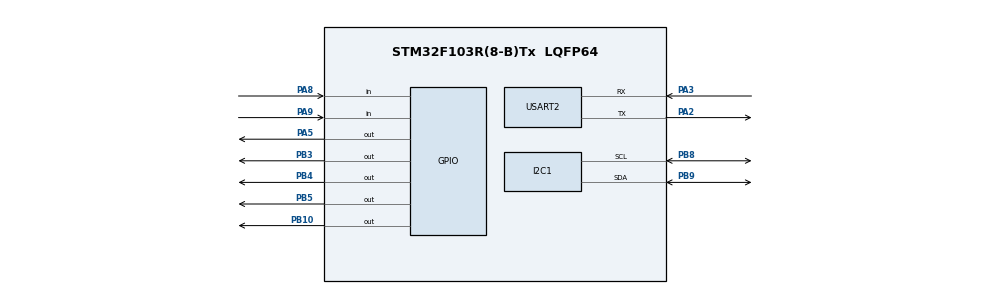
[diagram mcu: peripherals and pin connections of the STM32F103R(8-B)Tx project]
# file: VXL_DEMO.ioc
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Mcu.Family=STM32F1
Mcu.Name=STM32F103R(8-B)Tx
Mcu.Package=LQFP64
NVIC.PriorityGroup=NVIC_PRIORITYGROUP_4
NVIC.TIM2_IRQn=true\:0\:0\:false\:false\:true\:true\:true\:true
NVIC.USART2_IRQn=true\:0\:0\:false\:false\:true\:true\:true\:true
PA2.Mode=Asynchronous
PA2.Signal=USART2_TX
PA3.Mode=Asynchronous
PA3.Signal=USART2_RX
PA5.Signal=GPIO_Output
PA8.GPIO_PuPd=GPIO_PULLUP
PA8.Signal=GPIO_Input
PA9.GPIO_PuPd=GPIO_PULLUP
PA9.Signal=GPIO_Input
PB10.Signal=GPIO_Output
PB3.Signal=GPIO_Output
PB4.Signal=GPIO_Output
PB5.Signal=GPIO_Output
PB8.Mode=I2C
PB8.Signal=I2C1_SCL
PB9.Mode=I2C
PB9.Signal=I2C1_SDA
ProjectManager.HeapSize=0x200
ProjectManager.StackSize=0x400
ProjectManager.TargetToolchain=STM32CubeIDE
RCC.APB1Freq_Value=8000000
RCC.APB2Freq_Value=8000000
TIM2.Period=9
TIM2.Prescaler=7999
USART2.VirtualMode=VM_ASYNC
VP_SYS_VS_ND.Mode=No_Debug
VP_TIM2_VS_ClockSourceINT.Mode=Internal
board=custom

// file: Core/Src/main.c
/* USER CODE BEGIN Header */
/**
  ******************************************************************************
  * @file           : main.c
  * @brief          : Main program body
  ******************************************************************************
  * @attention
  *
  * Copyright (c) 2024 STMicroelectronics.
  * All rights reserved.
  *
  * This software is licensed under terms that can be found in the LICENSE file
  * in the root directory of this software component.
  * If no LICENSE file comes with this software, it is provided AS-IS.
  *
  ******************************************************************************
  */
/* USER CODE END Header */
#include "main.h"

/* USER CODE BEGIN Includes */
#include "global.h"
/* USER CODE END Includes */

/* USER CODE BEGIN PD */
#define MyI2C_LCD I2C_LCD_1
/* USER CODE END PD */

I2C_HandleTypeDef hi2c1;

TIM_HandleTypeDef htim2;

UART_HandleTypeDef huart2;

void SystemClock_Config(void);
static void MX_GPIO_Init(void);
static void MX_I2C1_Init(void);
static void MX_TIM2_Init(void);
static void MX_USART2_UART_Init(void);

/* USER CODE BEGIN 0 */
uint8_t tx_buffer[100] = "HELLO WORLD";
uint8_t rx_idx = 0;
uint8_t rx_data[6];
uint8_t rx_buffer[100];
uint8_t transfer_clpt;
/* USER CODE END 0 */

int main(void)
{

  /* MCU Configuration--------------------------------------------------------*/

  /* Reset of all peripherals, Initializes the Flash interface and the Systick. */
  HAL_Init();

  /* Configure the system clock */
  SystemClock_Config();

  /* Initialize all configured peripherals */
  MX_GPIO_Init();
  MX_I2C1_Init();
  MX_TIM2_Init();
  MX_USART2_UART_Init();
  lcd_init();
  /* USER CODE BEGIN 2 */
  HAL_TIM_Base_Start_IT (& htim2 );
  HAL_UART_Receive_IT(&huart2, rx_data, 1);
  /* USER CODE END 2 */

  /* Infinite loop */
  /* USER CODE BEGIN WHILE */
  SCH_Init();
  SCH_Add_Task(BlinkLed,0,1000);
  SCH_Add_Task(Run_Traffic_Light,0,100);
  //SCH_Add_Task(getKeyInput, 0 , 1);
  while (1)
  {
    /* USER CODE END WHILE */

    /* USER CODE BEGIN 3 */
	  SCH_Dispatch_Task() ;
  }
  /* USER CODE END 3 */
}

void SystemClock_Config(void)
{
  RCC_OscInitTypeDef RCC_OscInitStruct = {0};
  RCC_ClkInitTypeDef RCC_ClkInitStruct = {0};

  /** Initializes the RCC Oscillators according to the specified parameters
  * in the RCC_OscInitTypeDef structure.
  */
  RCC_OscInitStruct.OscillatorType = RCC_OSCILLATORTYPE_HSI;
  RCC_OscInitStruct.HSIState = RCC_HSI_ON;
  RCC_OscInitStruct.HSICalibrationValue = RCC_HSICALIBRATION_DEFAULT;
  RCC_OscInitStruct.PLL.PLLState = RCC_PLL_NONE;
  if (HAL_RCC_OscConfig(&RCC_OscInitStruct) != HAL_OK)
  {
    Error_Handler();
  }

  /** Initializes the CPU, AHB and APB buses clocks
  */
  RCC_ClkInitStruct.ClockType = RCC_CLOCKTYPE_HCLK|RCC_CLOCKTYPE_SYSCLK
                              |RCC_CLOCKTYPE_PCLK1|RCC_CLOCKTYPE_PCLK2;
  RCC_ClkInitStruct.SYSCLKSource = RCC_SYSCLKSOURCE_HSI;
  RCC_ClkInitStruct.AHBCLKDivider = RCC_SYSCLK_DIV1;
  RCC_ClkInitStruct.APB1CLKDivider = RCC_HCLK_DIV1;
  RCC_ClkInitStruct.APB2CLKDivider = RCC_HCLK_DIV1;

  if (HAL_RCC_ClockConfig(&RCC_ClkInitStruct, FLASH_LATENCY_0) != HAL_OK)
  {
    Error_Handler();
  }
}

static void MX_I2C1_Init(void)
{

  hi2c1.Instance = I2C1;
  hi2c1.Init.ClockSpeed = 100000;
  hi2c1.Init.DutyCycle = I2C_DUTYCYCLE_2;
  hi2c1.Init.OwnAddress1 = 0;
  hi2c1.Init.AddressingMode = I2C_ADDRESSINGMODE_7BIT;
  hi2c1.Init.DualAddressMode = I2C_DUALADDRESS_DISABLE;
  hi2c1.Init.OwnAddress2 = 0;
  hi2c1.Init.GeneralCallMode = I2C_GENERALCALL_DISABLE;
  hi2c1.Init.NoStretchMode = I2C_NOSTRETCH_DISABLE;
  if (HAL_I2C_Init(&hi2c1) != HAL_OK)
  {
    Error_Handler();
  }

}

static void MX_TIM2_Init(void)
{

  TIM_ClockConfigTypeDef sClockSourceConfig = {0};
  TIM_MasterConfigTypeDef sMasterConfig = {0};

  htim2.Instance = TIM2;
  htim2.Init.Prescaler = 7999;
  htim2.Init.CounterMode = TIM_COUNTERMODE_UP;
  htim2.Init.Period = 9;
  htim2.Init.ClockDivision = TIM_CLOCKDIVISION_DIV1;
  htim2.Init.AutoReloadPreload = TIM_AUTORELOAD_PRELOAD_DISABLE;
  if (HAL_TIM_Base_Init(&htim2) != HAL_OK)
  {
    Error_Handler();
  }
  sClockSourceConfig.ClockSource = TIM_CLOCKSOURCE_INTERNAL;
  if (HAL_TIM_ConfigClockSource(&htim2, &sClockSourceConfig) != HAL_OK)
  {
    Error_Handler();
  }
  sMasterConfig.MasterOutputTrigger = TIM_TRGO_RESET;
  sMasterConfig.MasterSlaveMode = TIM_MASTERSLAVEMODE_DISABLE;
  if (HAL_TIMEx_MasterConfigSynchronization(&htim2, &sMasterConfig) != HAL_OK)
  {
    Error_Handler();
  }

}

static void MX_USART2_UART_Init(void)
{

  huart2.Instance = USART2;
  huart2.Init.BaudRate = 9600;
  huart2.Init.WordLength = UART_WORDLENGTH_8B;
  huart2.Init.StopBits = UART_STOPBITS_1;
  huart2.Init.Parity = UART_PARITY_NONE;
  huart2.Init.Mode = UART_MODE_TX_RX;
  huart2.Init.HwFlowCtl = UART_HWCONTROL_NONE;
  huart2.Init.OverSampling = UART_OVERSAMPLING_16;
  if (HAL_UART_Init(&huart2) != HAL_OK)
  {
    Error_Handler();
  }

}

static void MX_GPIO_Init(void)
{
  GPIO_InitTypeDef GPIO_InitStruct = {0};

  /* GPIO Ports Clock Enable */
  __HAL_RCC_GPIOA_CLK_ENABLE();
  __HAL_RCC_GPIOB_CLK_ENABLE();

  /*Configure GPIO pin Output Level */
  HAL_GPIO_WritePin(GPIOA, GPIO_PIN_5, GPIO_PIN_RESET);

  /*Configure GPIO pin Output Level */
  HAL_GPIO_WritePin(GPIOB, GPIO_PIN_10|GPIO_PIN_3|GPIO_PIN_4|GPIO_PIN_5, GPIO_PIN_RESET);

  /*Configure GPIO pin : PA5 */
  GPIO_InitStruct.Pin = GPIO_PIN_5;
  GPIO_InitStruct.Mode = GPIO_MODE_OUTPUT_PP;
  GPIO_InitStruct.Pull = GPIO_NOPULL;
  GPIO_InitStruct.Speed = GPIO_SPEED_FREQ_LOW;
  HAL_GPIO_Init(GPIOA, &GPIO_InitStruct);

  /*Configure GPIO pins : PB10 PB3 PB4 PB5 */
  GPIO_InitStruct.Pin = GPIO_PIN_10|GPIO_PIN_3|GPIO_PIN_4|GPIO_PIN_5;
  GPIO_InitStruct.Mode = GPIO_MODE_OUTPUT_PP;
  GPIO_InitStruct.Pull = GPIO_NOPULL;
  GPIO_InitStruct.Speed = GPIO_SPEED_FREQ_LOW;
  HAL_GPIO_Init(GPIOB, &GPIO_InitStruct);

  /*Configure GPIO pins : PA8 PA9 */
  GPIO_InitStruct.Pin = GPIO_PIN_8|GPIO_PIN_9;
  GPIO_InitStruct.Mode = GPIO_MODE_INPUT;
  GPIO_InitStruct.Pull = GPIO_PULLUP;
  HAL_GPIO_Init(GPIOA, &GPIO_InitStruct);

}

/* USER CODE BEGIN 4 */
void HAL_TIM_PeriodElapsedCallback(TIM_HandleTypeDef *htim){
	//timer_run();
	SCH_Update();
	getKeyInput();
}

void HAL_UART_RxCpltCallback(UART_HandleTypeDef *huart)
{
  UNUSED(huart);
  uint8_t i;
  if (huart->Instance == USART2)
  {
    if (rx_idx == 0)
    {
      for (i = 0; i < 100; i++)
      {
        rx_buffer[i] = 0;
      }
    } // RESET RX BUFFER

    if (rx_data[0] != 13)
    {
      rx_buffer[rx_idx++] = rx_data[0];
    }
    else
    {
      rx_idx = 0;
      transfer_clpt = 1;
      HAL_UART_Transmit(&huart2, "\n\r", 2, 100);
      if (!strcmp(rx_buffer, "SHOW TIME"))
      {
    	 uart_mode1 = 1;
      }
      else if (!strcmp(rx_buffer, "END"))
      {
         uart_mode1 = 0;
      }
      else if (!strcmp(rx_buffer, "MANUAL"))
      {
			ResetLight1();
			ResetLight2();
			status1 = RED_GREEN_MAN;
			status2 = RED_GREEN_MAN;
			count1 = 10*scale;
			count2 = 1;
      }
      else if (!strcmp(rx_buffer, "AUTO"))
      {
    		status1 = INIT;
    		status2 = INIT;
    		lcd_clear_display();
      }
      else if(status1/20==1 && !strcmp(rx_buffer, "1")){
    	  uart_press=1;
      }
      else
      {
        HAL_UART_Transmit(&huart2, "SYNTAX ERROR\n\r", 14, 100);
      }
    }
    HAL_UART_Receive_IT(&huart2, rx_data, 1);
    HAL_UART_Transmit(&huart2, rx_data, strlen(rx_data), 100);
  }
}
/* USER CODE END 4 */

void Error_Handler(void)
{
  __disable_irq();
  while (1)
  {
  }
}
